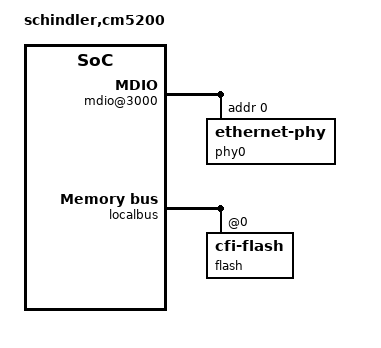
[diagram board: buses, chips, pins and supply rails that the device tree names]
/*
 * CM5200 board Device Tree Source
 *
 * Copyright (C) 2007 Semihalf
 * Marian Balakowicz <m8@semihalf.com>
 *
 * This program is free software; you can redistribute  it and/or modify it
 * under  the terms of  the GNU General  Public License as published by the
 * Free Software Foundation;  either version 2 of the  License, or (at your
 * option) any later version.
 */

/include/ "mpc5200b.dtsi"

&gpt0 { fsl,has-wdt; };

/ {
	model = "schindler,cm5200";
	compatible = "schindler,cm5200";

	soc5200@f0000000 {
		can@900 {
			status = "disabled";
		};

		can@980 {
			status = "disabled";
		};

		psc@2000 {		// PSC1
			compatible = "fsl,mpc5200b-psc-uart","fsl,mpc5200-psc-uart";
		};

		psc@2200 {		// PSC2
			compatible = "fsl,mpc5200b-psc-uart","fsl,mpc5200-psc-uart";
		};

		psc@2400 {		// PSC3
			compatible = "fsl,mpc5200b-psc-uart","fsl,mpc5200-psc-uart";
		};

		psc@2600 {		// PSC4
			status = "disabled";
		};

		psc@2800 {		// PSC5
			status = "disabled";
		};

		psc@2c00 {		// PSC6
			compatible = "fsl,mpc5200b-psc-uart","fsl,mpc5200-psc-uart";
		};

		ethernet@3000 {
			phy-handle = <&phy0>;
		};

		mdio@3000 {
			phy0: ethernet-phy@0 {
				reg = <0>;
			};
		};

		ata@3a00 {
			status = "disabled";
		};

		i2c@3d00 {
			status = "disabled";
		};

	};

	pci@f0000d00 {
		status = "disabled";
	};

	localbus {
		// 16-bit flash device at LocalPlus Bus CS0
		flash@0,0 {
			compatible = "cfi-flash";
			reg = <0 0 0x2000000>;
			bank-width = <2>;
			device-width = <2>;
			#size-cells = <1>;
			#address-cells = <1>;
		};
	};
};
